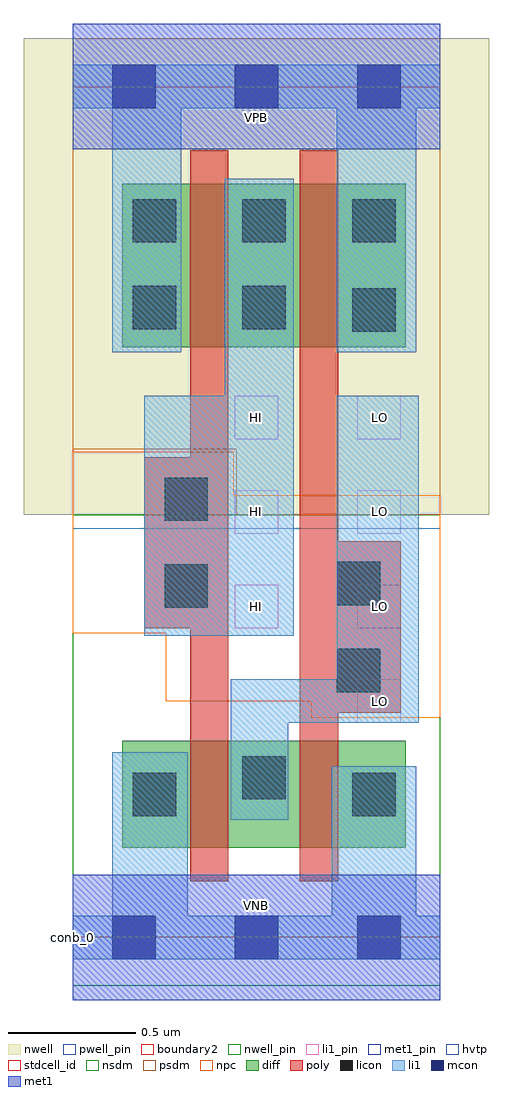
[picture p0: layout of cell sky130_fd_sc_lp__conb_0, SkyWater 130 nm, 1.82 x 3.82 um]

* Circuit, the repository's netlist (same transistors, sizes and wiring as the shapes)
* Copyright 2020 The SkyWater PDK Authors
*
* Licensed under the Apache License, Version 2.0 (the "License");
* you may not use this file except in compliance with the License.
* You may obtain a copy of the License at
*
*     https://www.apache.org/licenses/LICENSE-2.0
*
* Unless required by applicable law or agreed to in writing, software
* distributed under the License is distributed on an "AS IS" BASIS,
* WITHOUT WARRANTIES OR CONDITIONS OF ANY KIND, either express or implied.
* See the License for the specific language governing permissions and
* limitations under the License.
*
* SPDX-License-Identifier: Apache-2.0

.SUBCKT sky130_fd_sc_lp__conb_0 VGND VNB VPB VPWR HI LO
*.PININFO VGND:I VNB:I VPB:I VPWR:I HI:O LO:O
MMIN1 LO LO VGND VNB sky130_fd_pr__nfet_01v8 m=1 w=0.42U l=0.15U mult=1 sa=0.265
+ sb=0.265 sd=0.28 area=0.063 perim=1.14
MMIN0 LO HI VGND VNB sky130_fd_pr__nfet_01v8 m=1 w=0.42U l=0.15U mult=1 sa=0.265
+ sb=0.265 sd=0.28 area=0.063 perim=1.14
MMIP0 HI HI VPWR VPB sky130_fd_pr__pfet_01v8_hvt m=1 w=0.64U l=0.15U mult=1 sa=0.265
+ sb=0.265 sd=0.28 area=0.063 perim=1.14
MMIP1 HI LO VPWR VPB sky130_fd_pr__pfet_01v8_hvt m=1 w=0.64U l=0.15U mult=1 sa=0.265
+ sb=0.265 sd=0.28 area=0.063 perim=1.14
.ENDS sky130_fd_sc_lp__conb_0

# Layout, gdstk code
import gdstk
lib = gdstk.Library(unit=1e-6, precision=1e-09)
def R(c, l, rs):  # rectangles x0, y0, x1, y1
    for r in rs: c.add(gdstk.rectangle(r[:2], r[2:], *l))
def A(c, l, x, y, w, h, nx, ny, dx, dy):  # array of equal rectangles
    R(c, l, [(x+i*dx, y+j*dy, x+i*dx+w, y+j*dy+h) for i in range(nx) for j in range(ny)])
def P(c, l, *ps):  # polygons
    for p in ps: c.add(gdstk.Polygon(p, *l))
nwell_pin = (64, 16)
nwell = (64, 20)
diff = (65, 20)
poly = (66, 20)
licon = (66, 44)
li1_pin = (67, 16)
li1 = (67, 20)
mcon = (67, 44)
met1_pin = (68, 16)
met1 = (68, 20)
hvtp = (78, 44)
stdcell_id = (81, 4)
nsdm = (93, 44)
psdm = (94, 20)
npc = (95, 20)
pwell_pin = (122, 16)
boundary2 = (236, 0)

sky130_fd_sc_lp__conb_0 = lib.new_cell('sky130_fd_sc_lp__conb_0')
R(sky130_fd_sc_lp__conb_0, nwell_pin, [(0,3.085,1.44,3.33)])
R(sky130_fd_sc_lp__conb_0, nwell, [(-0.19,1.655,1.63,3.52)])
R(sky130_fd_sc_lp__conb_0, diff, [(0.195,0.35,1.305,0.77), (0.195,2.31,1.305,2.95)])
P(sky130_fd_sc_lp__conb_0, poly, [(0.61,3.08),(0.46,3.08),(0.46,1.88),(0.28,1.88),(0.28,1.21),(0.46,1.21),(0.46,0.22),(0.61,0.22)],
  [(1.285,1.55),(1.04,1.55),(1.04,3.08),(0.89,3.08),(0.89,0.22),(1.04,0.22),(1.04,0.88),(1.285,0.88)])
A(sky130_fd_sc_lp__conb_0, licon, 0.235, 2.72, 0.17, 0.17, 3, 1, 0.43, 0)
R(sky130_fd_sc_lp__conb_0, licon, [(0.235,0.475,0.405,0.645), (1.095,0.475,1.265,0.645), (0.665,0.54,0.835,0.71), (1.035,0.96,1.205,1.13), (0.36,1.29,0.53,1.46), (1.035,1.3,1.205,1.47), (0.36,1.63,0.53,1.8), (1.095,2.37,1.265,2.54), (0.235,2.38,0.405,2.55), (0.665,2.38,0.835,2.55)])
A(sky130_fd_sc_lp__conb_0, li1_pin, 1.115, 0.84, 0.17, 0.17, 1, 4, 0, 0.37)
A(sky130_fd_sc_lp__conb_0, li1_pin, 0.635, 1.21, 0.17, 0.17, 1, 3, 0, 0.37)
P(sky130_fd_sc_lp__conb_0, li1, [(1.035,2.29),(1.035,3.245),(0.425,3.245),(0.425,2.29),(0.155,2.29),(0.155,3.245),(0,3.245),(0,3.415),(1.44,3.415),(1.44,3.245),(1.345,3.245),(1.345,2.29)],
  [(1.015,0.085),(1.015,0.67),(1.345,0.67),(1.345,0.085),(1.44,0.085),(1.44,-0.085),(0,-0.085),(0,0.085),(0.155,0.085),(0.155,0.725),(0.45,0.725),(0.45,0.085)],
  [(0.595,2.12),(0.595,2.97),(0.865,2.97),(0.865,1.18),(0.28,1.18),(0.28,2.12)],
  [(1.035,1.01),(1.035,2.12),(1.355,2.12),(1.355,0.84),(0.845,0.84),(0.845,0.46),(0.62,0.46),(0.62,1.01)])
A(sky130_fd_sc_lp__conb_0, mcon, 0.155, -0.085, 0.17, 0.17, 3, 2, 0.48, 3.33)
R(sky130_fd_sc_lp__conb_0, met1_pin, [(0,0,1.44,0.245), (0,3.085,1.44,3.33)])
R(sky130_fd_sc_lp__conb_0, met1, [(0,-0.245,1.44,0.245), (0,3.085,1.44,3.575)])
R(sky130_fd_sc_lp__conb_0, hvtp, [(0,1.6,1.44,3.33)])
R(sky130_fd_sc_lp__conb_0, stdcell_id, [(0,0,1.44,3.33)])
R(sky130_fd_sc_lp__conb_0, nsdm, [(0,-0.19,1.44,1.655)])
P(sky130_fd_sc_lp__conb_0, psdm, [(1.44,3.52),(0,3.52),(0,1.91),(0.64,1.91),(0.64,1.655),(1.44,1.655)])
P(sky130_fd_sc_lp__conb_0, npc, [(1.44,1.73),(0.63,1.73),(0.63,1.9),(0,1.9),(0,1.19),(0.365,1.19),(0.365,0.925),(0.935,0.925),(0.935,0.86),(1.44,0.86)])
R(sky130_fd_sc_lp__conb_0, pwell_pin, [(0,0,1.44,0.245)])
R(sky130_fd_sc_lp__conb_0, boundary2, [(0,0,1.44,3.33)])
sky130_fd_sc_lp__conb_0.add(gdstk.Label('VNB', (0.72,0.123), layer=64, texttype=59))
sky130_fd_sc_lp__conb_0.add(gdstk.Label('VPB', (0.72,3.208), layer=64, texttype=5))
sky130_fd_sc_lp__conb_0.add(gdstk.Label('conb_0', (0,0), layer=83, texttype=44))
sky130_fd_sc_lp__conb_0.add(gdstk.Label('VPWR', (0.72,3.208), layer=68, texttype=5))
sky130_fd_sc_lp__conb_0.add(gdstk.Label('VGND', (0.72,0.123), layer=68, texttype=5))
sky130_fd_sc_lp__conb_0.add(gdstk.Label('LO', (1.2,0.925), layer=67, texttype=5))
sky130_fd_sc_lp__conb_0.add(gdstk.Label('LO', (1.2,1.295), layer=67, texttype=5))
sky130_fd_sc_lp__conb_0.add(gdstk.Label('LO', (1.2,1.665), layer=67, texttype=5))
sky130_fd_sc_lp__conb_0.add(gdstk.Label('LO', (1.2,2.035), layer=67, texttype=5))
sky130_fd_sc_lp__conb_0.add(gdstk.Label('HI', (0.72,1.295), layer=67, texttype=5))
sky130_fd_sc_lp__conb_0.add(gdstk.Label('HI', (0.72,1.665), layer=67, texttype=5))
sky130_fd_sc_lp__conb_0.add(gdstk.Label('HI', (0.72,2.035), layer=67, texttype=5))

lib.write_gds('sky130_fd_sc_lp__conb_0.gds')
